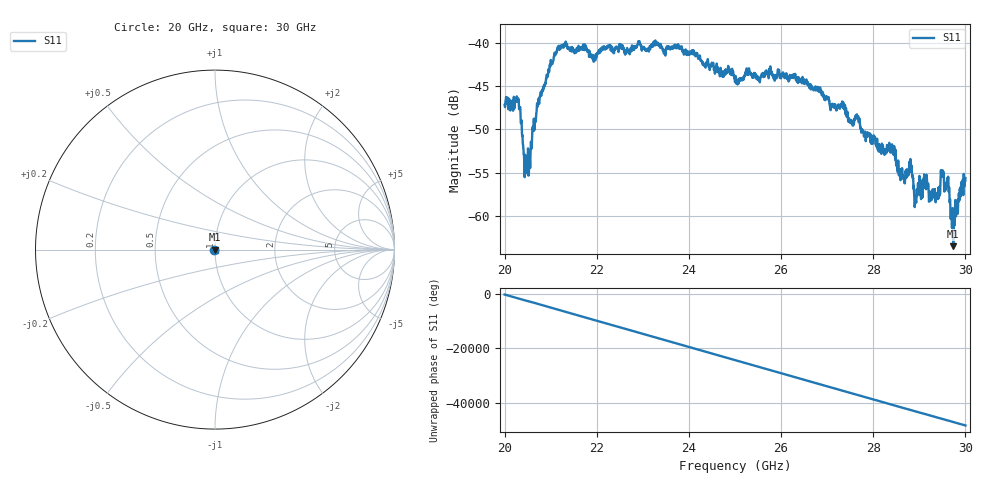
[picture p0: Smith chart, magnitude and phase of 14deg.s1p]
#  HZ  S  RI  R  50.00
! Rohde & Schwarz ZVA40 4Ports - Version 3.90 - 1145.1110k42 SN: 100403
! Date: 2023-10-03 11:39:24
! Measurement: S12
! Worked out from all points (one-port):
!   5001 points, 20 GHz to 30 GHz, reference 50 ohm
!   lowest |S11| = -63.5 dB at 29.74 GHz (marker M1), VSWR 1.00, Z = 50.1 - j0.0121 ohm
!   |S11| at or under -10 dB: start of sweep to end of sweep
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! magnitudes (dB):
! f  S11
! 20 GHz  -47.2
! 20.29 GHz  -46.6
! 20.43 GHz  -54.1
! 20.48 GHz  -54.6
! 20.75 GHz  -47.0
! 21.11 GHz  -41.2
! 21.25 GHz  -40.4
! 21.92 GHz  -41.5
! 22.5 GHz  -40.3
! 23.75 GHz  -40.6
! 25 GHz  -44.6
! 26.25 GHz  -44.0
! 27.34 GHz  -47.4
! 27.5 GHz  -49.0
! 27.66 GHz  -48.8
! 28.13 GHz  -51.8
! 28.44 GHz  -52.6
! 28.64 GHz  -55.4
! 28.75 GHz  -55.3
! 28.83 GHz  -54.6
! 28.92 GHz  -57.9
! 29.13 GHz  -56.4
! 29.25 GHz  -57.4
! 29.39 GHz  -57.4
! 29.51 GHz  -54.9
! 29.62 GHz  -55.9
! 29.74 GHz  -63.5
! 30 GHz  -55.6
